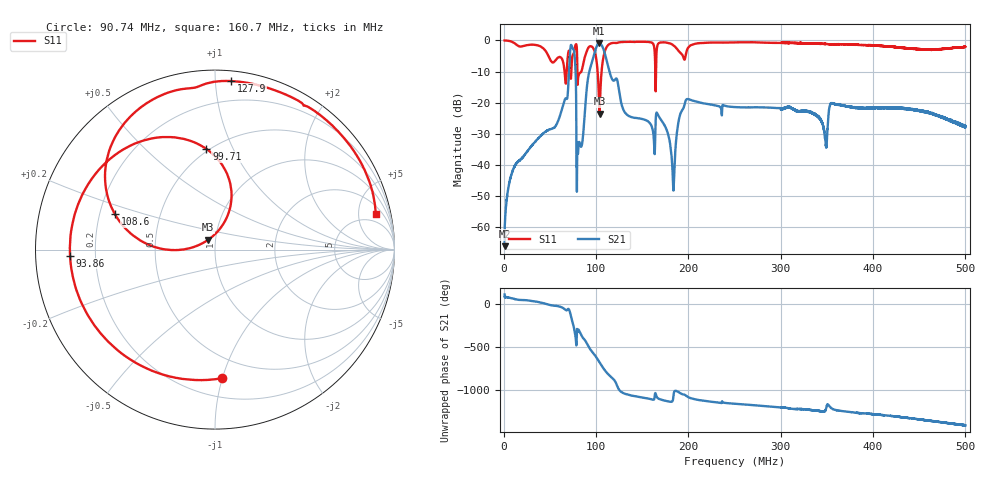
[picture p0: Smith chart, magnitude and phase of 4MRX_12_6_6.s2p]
! NanoVNA-App
! Date: 2026-08-19 14:55:55
! Start: 1MHz Stop: 500MHz Points: 6401
! S-Parameter data: F S11 S21 S12 S22
# Hz S RI R 50
!  Frequency  S11_Real  S11_Imag  S21_Real  S21_Imag  S12_Real  S12_Imag  S22_Real  S22_Imag
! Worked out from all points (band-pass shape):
!   6401 points, 1 MHz to 500 MHz, reference 50 ohm
!   highest |S21| = -0.89 dB at 103.6 MHz (marker M1); lowest = -66.0 dB at 1 MHz (marker M2)
!   |S21| within 3 dB of the highest: 71.86 MHz to 76.5 MHz (4.646 MHz wide, 6.26 % of centre); 98.48 MHz to 109.2 MHz (10.76 MHz wide, 10.4 % of centre)
!   lowest |S11| = -23.5 dB at 103.8 MHz (marker M3), VSWR 1.14, Z = 46.1 + j5.1 ohm
!   |S11| at or under -10 dB: 65.94 MHz to 68.26 MHz (2.321 MHz wide, 3.46 % of centre); 79.76 MHz to 84.11 MHz (4.354 MHz wide, 5.31 % of centre); 101.7 MHz to 106 MHz (4.29 MHz wide, 4.13 % of centre)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
!   S12 and S22 are empty: the file has one direction only
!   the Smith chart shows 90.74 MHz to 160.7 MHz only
!   S11 on the Smith chart (normalised r, x): 90.74 MHz: 0.34, -1.00; 93.86 MHz: 0.11, -0.02; 99.71 MHz: 0.48, +0.79; 108.6 MHz: 0.26, +0.16; 127.9 MHz: 0.06, +1.10; 160.7 MHz: 3.18, +7.92
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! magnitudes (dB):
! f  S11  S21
! 1 MHz  0.0  -66.0
! 10.12 MHz  -0.6  -41.5
! 57.68 MHz  -5.8  -26.7
! 74.06 MHz  -5.8  -2.2
! 81 MHz  -11.4  -33.9
! 84.19 MHz  -10.0  -34.0
! 90.74 MHz  -2.9  -13.3
! 93.86 MHz  -1.8  -8.7
! 99.71 MHz  -5.0  -2.7
! 103.6 MHz  -23.0  -0.9
! 103.8 MHz  -23.5  -0.9
! 108.6 MHz  -4.6  -3.3
! 127.9 MHz  -0.5  -20.8
! 160.7 MHz  -0.7  -27.9
! 167.4 MHz  -1.0  -24.0
! 183.5 MHz  -1.5  -47.0
! 198.5 MHz  -3.1  -18.8
! 250.5 MHz  -0.6  -21.4
! 333.7 MHz  -1.0  -23.4
! 348.4 MHz  -1.1  -32.1
! 416.9 MHz  -1.9  -21.6
! 500 MHz  -2.0  -27.4
